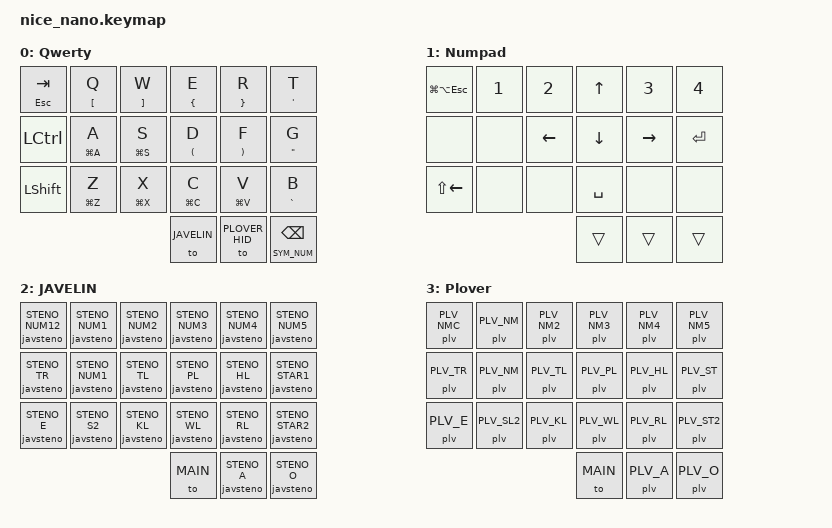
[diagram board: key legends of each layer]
#include <behaviors.dtsi>
#include <dt-bindings/gpio/gpio.h>
#include <dt-bindings/zmk/keys.h>
#include <dt-bindings/zmk/matrix_transform.h>
#include <behaviors/javelin_steno.dtsi>
#include <behaviors/plover_hid.dtsi>
#include <dt-bindings/zmk/hid-io/plover_hid.h>
#include <dt-bindings/zmk/javelin_steno.h>
#include "../../tools/steno-squid-qspi/qspi.overlay"

#define MAIN 0
#define SYM_NUM 1
#define JAVELIN 2
#define PLOVER_HID 3

/ {
    chosen {
        zmk,kscan = &left_kscan;
        zmk,matrix-transform = &left_transform;
    };

    left_kscan: left_kscan {
        compatible = "zmk,kscan-gpio-matrix";
#include "left-matrix.dtsi"
    };

    left_transform: left_transform {
        compatible = "zmk,matrix-transform";
        rows = <4>;
        columns = <6>;
        map = <
            RC(0,0) RC(0,1) RC(0,2) RC(0,3) RC(0,4) RC(0,5)
            RC(1,0) RC(1,1) RC(1,2) RC(1,3) RC(1,4) RC(1,5)
            RC(2,0) RC(2,1) RC(2,2) RC(2,3) RC(2,4) RC(2,5)
                                    RC(3,3) RC(3,4) RC(3,5)
        >;
    };

    behaviors {
        ht: hold_tap {
            compatible = "zmk,behavior-hold-tap";
            #binding-cells = <2>;
            flavor = "tap-preferred";
            tapping-term-ms = <200>;
            quick-tap-ms = <125>;
            require-prior-idle-ms = <125>;
            bindings = <&kp>, <&kp>;
        };
    };

    keymap {
        compatible = "zmk,keymap";

        main_layer {
            display-name = "Qwerty";
            bindings = <
                &ht ESC TAB &ht LBKT Q  &ht RBKT W  &ht LBRC E  &ht RBRC R &ht SQT T
                &kp LCTRL   &ht LG(A) A &ht LG(S) S &ht LPAR D  &ht RPAR F &ht DQT G
                &kp LSHIFT  &ht LG(Z) Z &ht LG(X) X &ht LG(C) C &ht LG(V) V &ht GRAVE B
                                                    &to JAVELIN &to PLOVER_HID &lt SYM_NUM BSPC
            >;
        };

        sym_num_layer {
            display-name = "Numpad";
            bindings = <
                &kp LG(LA(ESC)) &kp N1 &kp N2   &kp UP    &kp N3    &kp N4
                &none          &none  &kp LEFT &kp DOWN  &kp RIGHT &kp RET
                &kp LS(LEFT)   &none  &none    &kp SPACE &none     &none
                                               &trans    &trans    &trans
            >;
        };

        javelin_layer {
            display-name = "JAVELIN";
            // The first column's -T and E permit one-half Lapwing testing.
            bindings = <
                &javsteno STENO_NUM12 &javsteno STENO_NUM1 &javsteno STENO_NUM2 &javsteno STENO_NUM3 &javsteno STENO_NUM4 &javsteno STENO_NUM5
                &javsteno STENO_TR    &javsteno STENO_NUM1  &javsteno STENO_TL   &javsteno STENO_PL   &javsteno STENO_HL   &javsteno STENO_STAR1
                &javsteno STENO_E     &javsteno STENO_S2   &javsteno STENO_KL   &javsteno STENO_WL   &javsteno STENO_RL   &javsteno STENO_STAR2
                                                                               &to MAIN            &javsteno STENO_A    &javsteno STENO_O
            >;
        };

        plover_hid_layer {
            display-name = "Plover";
            bindings = <
                &plv PLV_NMC &plv PLV_NM  &plv PLV_NM2 &plv PLV_NM3 &plv PLV_NM4 &plv PLV_NM5
                &plv PLV_TR  &plv PLV_NM  &plv PLV_TL  &plv PLV_PL  &plv PLV_HL  &plv PLV_ST
                &plv PLV_E   &plv PLV_SL2 &plv PLV_KL  &plv PLV_WL  &plv PLV_RL  &plv PLV_ST2
                                                        &to MAIN     &plv PLV_A   &plv PLV_O
            >;
        };
    };
};

&uart0 { status = "disabled"; };
&spi1 { status = "disabled"; };
&i2c0 { status = "disabled"; };
